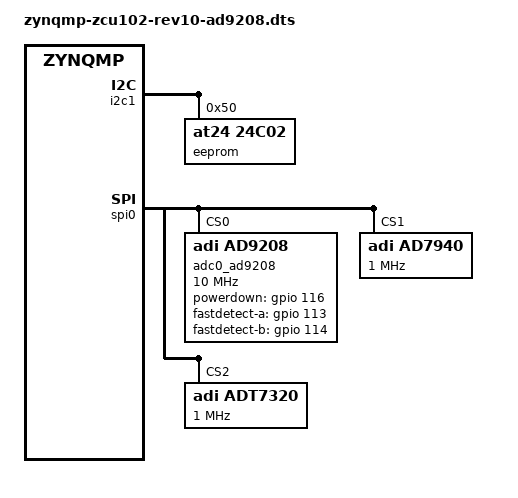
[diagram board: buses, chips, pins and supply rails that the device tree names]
// SPDX-License-Identifier: GPL-2.0
/*
 * Analog Devices AD9208 / AD9689 ANALOG-TO-DIGITAL CONVERTER
 * https://wiki.analog.com/resources/eval/ad9208-3000ebz
 * https://wiki.analog.com/resources/tools-software/linux-drivers/iio-adc/ad9208
 *
 * hdl_project: <ad9208/zcu102>
 * board_revision: <>
 *
 * Copyright (C) 2019-2020 Analog Devices Inc.
 */

#include "zynqmp-zcu102-rev1.0.dts"
#include <dt-bindings/interrupt-controller/irq.h>
#include <dt-bindings/iio/adc/adi,ad9208.h>
#include <dt-bindings/jesd204/adxcvr.h>

&i2c1 {
	i2c-mux@75 {
		i2c@0 {
			#address-cells = <1>;
			#size-cells = <0>;
			reg = <0>;

			eeprom@50 {
				compatible = "at24,24c02";
				reg = <0x50>;
			};
		};
	};
};

/ {
	fpga_axi: fpga-axi@0 {
		interrupt-parent = <&gic>;
		compatible = "simple-bus";
		#address-cells = <0x1>;
		#size-cells = <0x1>;
		ranges = <0 0 0 0xffffffff>;

		ad9208_clkin: clock@0 {
			#clock-cells = <0>;
			compatible = "adjustable-clock";
			clock-frequency = <3000000000>;
			clock-accuracy = <1000000000>; /* 0 ... 6 Ghz */
			clock-output-names = "ad9208_clk";
		};

		rx_dma: rx-dmac@9c420000 {
			#dma-cells = <1>;
			compatible = "adi,axi-dmac-1.00.a";
			reg = <0x9c420000 0x10000>;
			interrupts = <0 109 IRQ_TYPE_LEVEL_HIGH>;
			clocks = <&zynqmp_clk 71>;

			adi,channels {
				#size-cells = <0>;
				#address-cells = <1>;

				dma-channel@0 {
					reg = <0>;
					adi,source-bus-width = <128>;
					adi,source-bus-type = <1>;
					adi,destination-bus-width = <128>;
					adi,destination-bus-type = <0>;
				};
			};
		};

		axi_ad9208_core: axi-ad9208-hpc@84a10000 {
			compatible = "adi,axi-ad9208-1.0";
			reg = <0x84a10000 0x10000>;
			dmas = <&rx_dma 0>;
			dma-names = "rx";
			spibus-connected = <&adc0_ad9208>;
		};

		axi_ad9208_jesd: axi-jesd204-rx@84aa0000 {
			compatible = "adi,axi-jesd204-rx-1.0";
			reg = <0x84aa0000 0x4000>;
			interrupts = <0 108 IRQ_TYPE_LEVEL_HIGH>;

			clocks = <&zynqmp_clk 71>, <&axi_ad9208_adxcvr 1>, <&axi_ad9208_adxcvr 0>;
			clock-names = "s_axi_aclk", "device_clk", "lane_clk";

			adi,octets-per-frame = <1>;
			adi,frames-per-multiframe = <32>;
			adi,subclass = <0>;

			#clock-cells = <0>;
			clock-output-names = "jesd_adc_lane_clk";
		};

		axi_ad9208_adxcvr: axi-adxcvr-rx@84a60000 {
			compatible = "adi,axi-adxcvr-1.0";
			reg = <0x84a60000 0x1000>;

			clocks = <&si570_2>, <&si570_2>;
			clock-names = "conv", "div40";

			adi,sys-clk-select = <XCVR_QPLL>;
			adi,out-clk-select = <XCVR_REFCLK>;
			adi,use-lpm-enable;

			#clock-cells = <1>;
			clock-output-names = "adc_gt_clk", "rx_out_clk";
		};

		axi_sysid_0: axi-sysid-0@85000000 {
			compatible = "adi,axi-sysid-1.00.a";
			reg = <0x85000000 0x10000>;
		};
	};
};

&spi0 {
	status = "okay";

	adc0_ad9208: ad9208@0 {
		compatible = "adi,ad9208";

		powerdown-gpios = <&gpio 116 0>;
		fastdetect-a-gpios = <&gpio 113 0>;
		fastdetect-b-gpios = <&gpio 114 0>;

		spi-cpol;
		spi-cpha;
		spi-max-frequency = <10000000>;
		reg = <0>;

		clocks = <&axi_ad9208_jesd>, <&ad9208_clkin>;
		clock-names = "jesd_adc_clk", "adc_clk";

		adi,powerdown-mode = <AD9208_PDN_MODE_POWERDOWN>;

		adi,sampling-frequency = /bits/ 64 <2600000000>;
		adi,input-clock-divider-ratio = <1>;
		adi,duty-cycle-stabilizer-enable;

		adi,analog-input-neg-buffer-current = <AD9208_BUFF_CURR_600_UA>;
		adi,analog-input-pos-buffer-current = <AD9208_BUFF_CURR_600_UA>;

		adi,sysref-lmfc-offset = <0>;
		adi,sysref-pos-window-skew = <0>;
		adi,sysref-neg-window-skew = <0>;
		adi,sysref-mode = <AD9208_SYSREF_CONT>;
		adi,sysref-nshot-ignore-count = <0>;

		/* JESD204 parameters */

		adi,octets-per-frame = <1>;
		adi,frames-per-multiframe = <32>;
		adi,converter-resolution = <16>;
		adi,bits-per-sample = <16>;
		adi,converters-per-device = <2>;
		adi,control-bits-per-sample = <0>;
		adi,lanes-per-device = <8>;
		adi,subclass = <0>;

		/* DDC setup */

		adi,ddc-channel-number = <AD9208_FULL_BANDWIDTH_MODE>;

		#address-cells = <1>;
		#size-cells = <0>;

		ad9208_ddc0: channel@0 {
			reg = <0>;
			adi,decimation = <2>;
			adi,nco-mode-select = <AD9208_NCO_MODE_VIF>;
			adi,nco-channel-carrier-frequency-hz = /bits/ 64 <70000000>;
			adi,nco-channel-phase-offset = /bits/ 64 <0>;
			adi,ddc-gain-6dB-enable;
		};
	};

	ad7940: ad7940@1 {
		compatible = "adi,ad7940";
		spi-max-frequency = <1000000>;
		reg = <1>;

	};

	adt7320: adt7320@2 {
		compatible = "adi,adt7320";
		spi-max-frequency = <1000000>;
		reg = <2>;

	};
};
